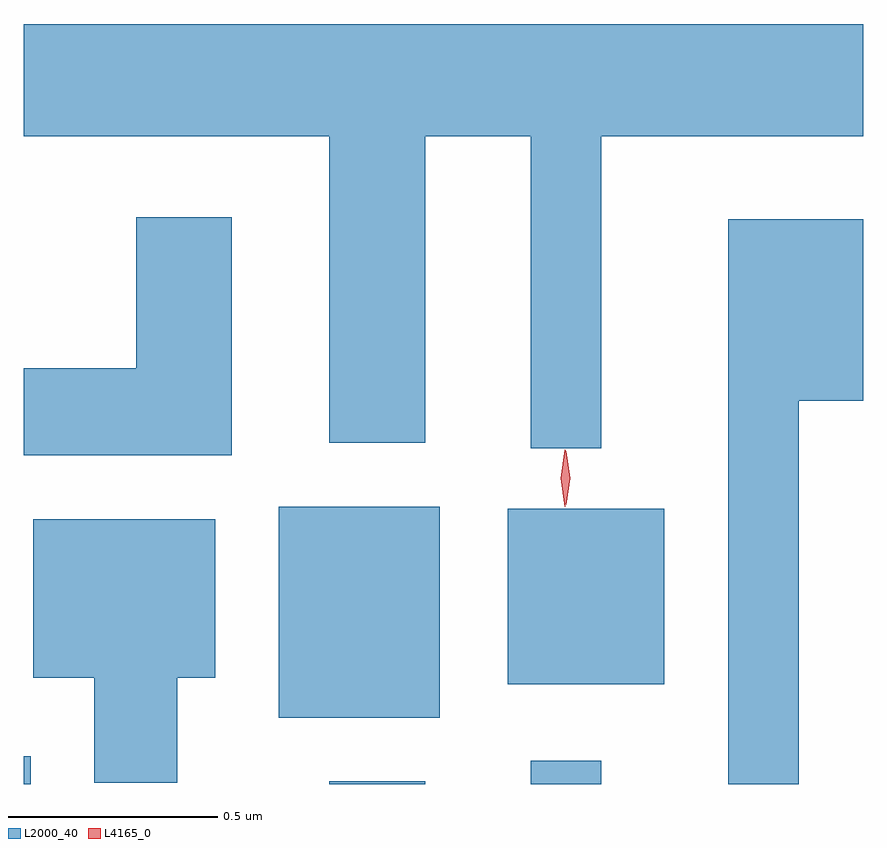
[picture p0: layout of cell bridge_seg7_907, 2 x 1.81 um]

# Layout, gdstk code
import gdstk
lib = gdstk.Library(unit=1e-6, precision=1e-09)
def R(c, l, rs):  # rectangles x0, y0, x1, y1
    for r in rs: c.add(gdstk.rectangle(r[:2], r[2:], *l))
def P(c, l, *ps):  # polygons
    for p in ps: c.add(gdstk.Polygon(p, *l))
L2000_40 = (2000, 40)
L4165_0 = (4165, 0)

bridge_seg7_907 = lib.new_cell('bridge_seg7_907')
R(bridge_seg7_907, L2000_40, [(281.853,1734.973,281.869,1735.039), (282.581,1734.973,282.809,1734.979), (283.061,1734.973,283.229,1735.028), (282.461,1735.131,282.844,1735.634), (283.006,1735.211,283.379,1735.629)])
P(bridge_seg7_907, L2000_40, [(281.853,1736.516),(282.581,1736.516),(282.581,1735.786),(282.809,1735.786),(282.809,1736.516),(283.061,1736.516),(283.061,1735.773),(283.229,1735.773),(283.229,1736.516),(283.853,1736.516),(283.853,1736.784),(281.853,1736.784)],
  [(282.349,1736.324),(282.121,1736.324),(282.121,1735.964),(281.853,1735.964),(281.853,1735.756),(282.349,1735.756)],
  [(283.699,1735.886),(283.853,1735.886),(283.853,1736.319),(283.531,1736.319),(283.531,1734.973),(283.699,1734.973)],
  [(282.219,1735.226),(282.309,1735.226),(282.309,1735.604),(281.876,1735.604),(281.876,1735.226),(282.021,1735.226),(282.021,1734.976),(282.219,1734.976)])
P(bridge_seg7_907, L4165_0, [(283.145,1735.638),(283.145,1735.638),(283.135,1735.702),(283.144,1735.766),(283.144,1735.767),(283.145,1735.766),(283.155,1735.702),(283.146,1735.638)],
  [(283.142,1735.634),(283.142,1735.634),(283.132,1735.702),(283.142,1735.77),(283.142,1735.77),(283.143,1735.77),(283.152,1735.702),(283.143,1735.634)])

lib.write_gds('bridge_seg7_907.gds')
